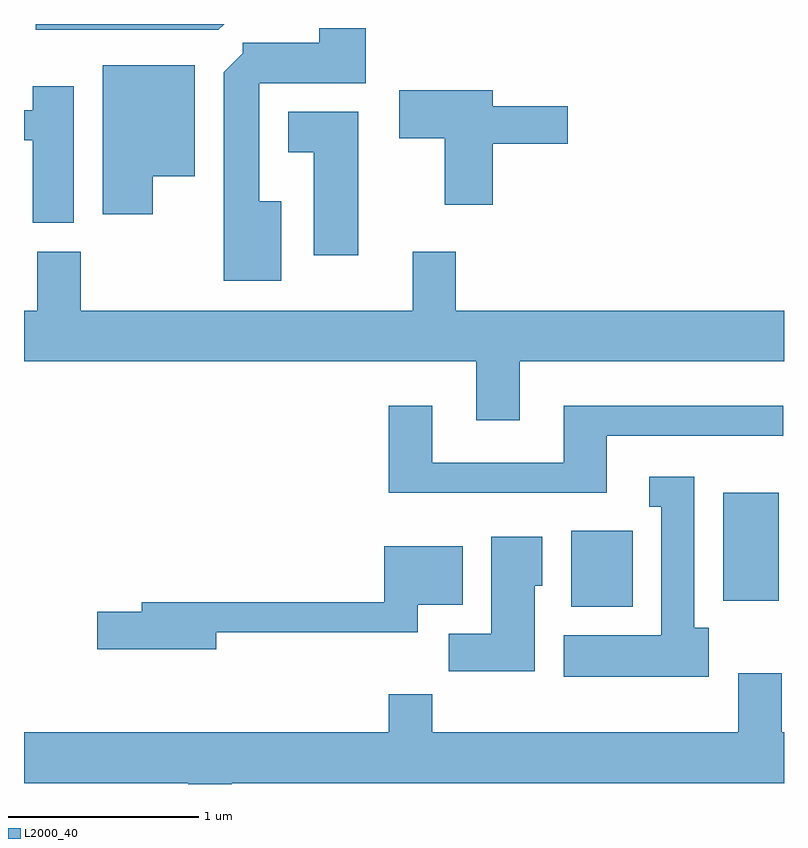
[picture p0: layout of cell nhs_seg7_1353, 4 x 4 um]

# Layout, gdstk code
import gdstk
lib = gdstk.Library(unit=1e-6, precision=1e-09)
def R(c, l, rs):  # rectangles x0, y0, x1, y1
    for r in rs: c.add(gdstk.rectangle(r[:2], r[2:], *l))
def P(c, l, *ps):  # polygons
    for p in ps: c.add(gdstk.Polygon(p, *l))
L2000_40 = (2000, 40)

nhs_seg7_1353 = lib.new_cell('nhs_seg7_1353')
R(nhs_seg7_1353, L2000_40, [(228.491,1775.186,228.814,1775.584), (229.291,1775.216,229.584,1775.784)])
P(nhs_seg7_1353, L2000_40, [(226.665,1778.252),(225.673,1778.252),(225.673,1778.221),(226.634,1778.221)],
  [(226.964,1777.319),(226.849,1777.319),(226.849,1777.941),(227.409,1777.941),(227.409,1778.229),(227.166,1778.229),(227.166,1778.154),(226.761,1778.154),(226.761,1778.097),(226.661,1777.997),(226.661,1776.901),(226.964,1776.901)],
  [(226.289,1777.451),(226.509,1777.451),(226.509,1778.034),(226.026,1778.034),(226.026,1777.251),(226.289,1777.251)],
  [(225.874,1777.924),(225.656,1777.924),(225.656,1777.799),(225.611,1777.799),(225.611,1777.641),(225.656,1777.641),(225.656,1777.206),(225.874,1777.206)],
  [(228.079,1777.621),(228.474,1777.621),(228.474,1777.819),(228.079,1777.819),(228.079,1777.904),(227.586,1777.904),(227.586,1777.651),(227.826,1777.651),(227.826,1777.301),(228.079,1777.301)],
  [(227.369,1777.789),(227.001,1777.789),(227.001,1777.576),(227.136,1777.576),(227.136,1777.036),(227.369,1777.036)],
  [(225.681,1777.054),(225.681,1776.744),(225.611,1776.744),(225.611,1776.476),(227.991,1776.476),(227.991,1776.166),(228.219,1776.166),(228.219,1776.476),(229.611,1776.476),(229.611,1776.744),(227.884,1776.744),(227.884,1777.054),(227.656,1777.054),(227.656,1776.744),(225.909,1776.744),(225.909,1777.054)],
  [(228.679,1776.086),(229.608,1776.086),(229.608,1776.244),(228.451,1776.244),(228.451,1775.944),(227.759,1775.944),(227.759,1776.244),(227.531,1776.244),(227.531,1775.786),(228.679,1775.786)],
  [(229.214,1775.074),(229.139,1775.074),(229.139,1775.869),(228.903,1775.869),(228.903,1775.711),(228.966,1775.711),(228.966,1775.034),(228.451,1775.034),(228.451,1774.816),(229.214,1774.816)],
  [(228.299,1775.296),(228.339,1775.296),(228.339,1775.554),(228.071,1775.554),(228.071,1775.044),(227.846,1775.044),(227.846,1774.846),(228.299,1774.846)],
  [(226.624,1775.051),(227.684,1775.051),(227.684,1775.196),(227.919,1775.196),(227.919,1775.504),(227.506,1775.504),(227.506,1775.209),(226.231,1775.209),(226.231,1775.159),(225.996,1775.159),(225.996,1774.961),(226.624,1774.961)],
  [(226.704,1774.256),(229.611,1774.256),(229.611,1774.524),(229.599,1774.524),(229.599,1774.834),(229.371,1774.834),(229.371,1774.524),(227.759,1774.524),(227.759,1774.724),(227.531,1774.724),(227.531,1774.524),(225.611,1774.524),(225.611,1774.256),(226.476,1774.256),(226.476,1774.252),(226.704,1774.252)])

lib.write_gds('nhs_seg7_1353.gds')
